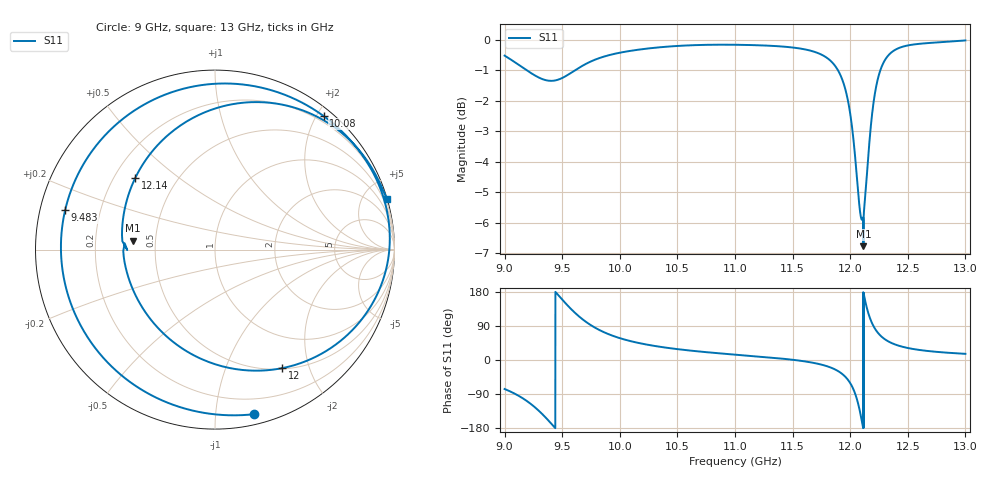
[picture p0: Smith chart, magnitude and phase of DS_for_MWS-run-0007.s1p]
! TOUCHSTONE file generated by CST DESIGN STUDIO
! Date and time: Tue Feb  4 14:34:08 2025
! Project name: C:\Work\MatlabApps\UnitCellOptimizationMatlab\CST\unitcell.cst
! Tree item: Tasks\Sweep1\SPara1\S-Parameters
! Header version: 2024
! Port assignment regex: !\s*Touchstone port\s*([0-9]+)\s*=\s*(CST MWS port|CST DES external port|CST DES block port)\s*(.+)\s* \(\"(.*)\"\)(\s*mode\s*([0-9]+))?.*
! Touchstone port assignment:
! Touchstone port 1 = CST DES external port 1 ("")
# GHz S MA R 50
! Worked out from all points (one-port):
!   4001 points, 9 GHz to 13 GHz, reference 50 ohm
!   lowest |S11| = -6.8 dB at 12.12 GHz (marker M1), VSWR 2.69, Z = 18.6 + j2.34 ohm
!   |S11| at or under -10 dB: nowhere
!   S11 on the Smith chart (normalised r, x): 9 GHz: 0.08, -1.26; 9.483 GHz: 0.07, +0.13; 10.08 GHz: 0.11, +2.10; 12 GHz: 0.51, -1.60; 12.14 GHz: 0.29, +0.36; 13 GHz: 0.04, +7.00
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9  0.9427 -76.5
9.147  0.9039 -99.0
9.258  0.8757 -123.5
9.385  0.8573 -161.2
9.483  0.8633 165.2
9.5  0.8662 159.4
9.599  0.8888 127.9
9.697  0.9119 102.7
9.843  0.9368 76.1
10  0.9532 57.6
10.079  0.959 50.9
10.5  0.9779 28.7
11  0.9823 14.2
11.5  0.9722 0.6
11.848  0.917 -22.0
11.935  0.8572 -37.9
11.999  0.7593 -60.4
12  0.7572 -60.9
12.06  0.5891 -105.2
12.091  0.5141 -145.3
12.115  0.4585 173.8
12.144  0.5972 138.1
12.172  0.6983 110.2
12.202  0.7878 89.6
12.291  0.9195 56.9
12.377  0.9602 42.5
12.5  0.9797 31.7
13  0.9984 16.3
